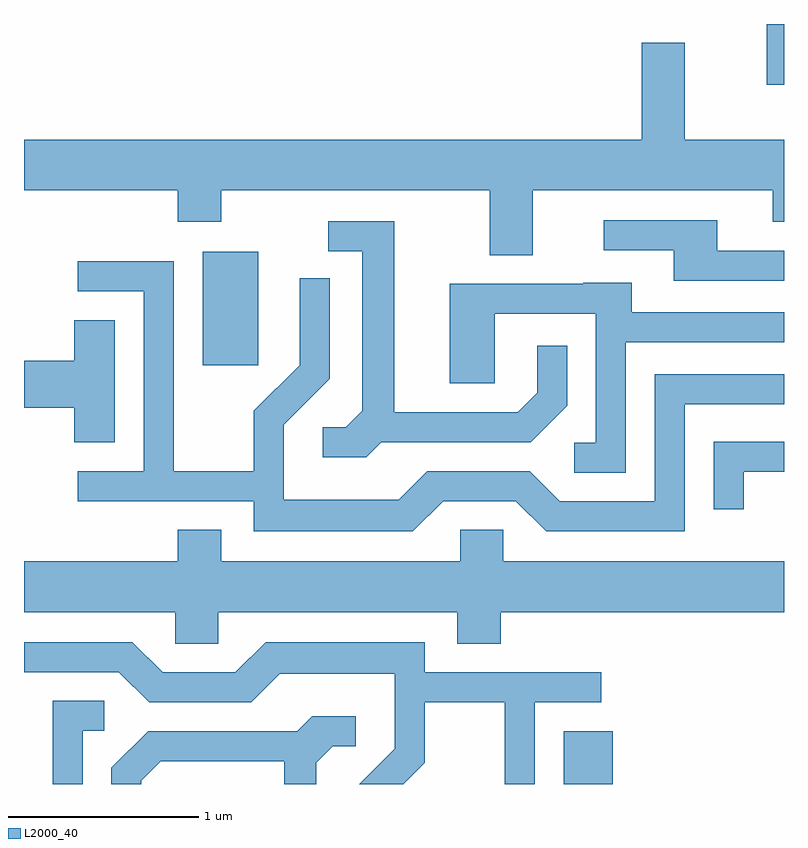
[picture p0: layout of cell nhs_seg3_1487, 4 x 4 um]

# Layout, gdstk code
import gdstk
lib = gdstk.Library(unit=1e-6, precision=1e-09)
def R(c, l, rs):  # rectangles x0, y0, x1, y1
    for r in rs: c.add(gdstk.rectangle(r[:2], r[2:], *l))
def P(c, l, *ps):  # polygons
    for p in ps: c.add(gdstk.Polygon(p, *l))
L2000_40 = (2000, 40)

nhs_seg3_1487 = lib.new_cell('nhs_seg3_1487')
R(nhs_seg3_1487, L2000_40, [(230.451,1233.892,230.709,1234.169), (228.551,1236.096,228.844,1236.694), (231.521,1237.571,231.611,1237.892)])
P(nhs_seg3_1487, L2000_40, [(230.289,1237.016),(231.551,1237.016),(231.551,1236.851),(231.611,1236.851),(231.611,1237.284),(231.089,1237.284),(231.089,1237.794),(230.861,1237.794),(230.861,1237.284),(227.611,1237.284),(227.611,1237.016),(228.421,1237.016),(228.421,1236.851),(228.649,1236.851),(228.649,1237.016),(230.061,1237.016),(230.061,1236.676),(230.289,1236.676)],
  [(231.611,1236.699),(231.259,1236.699),(231.259,1236.859),(230.663,1236.859),(230.663,1236.701),(231.031,1236.701),(231.031,1236.541),(231.611,1236.541)],
  [(229.492,1235.691),(230.277,1235.691),(230.469,1235.884),(230.469,1236.198),(230.311,1236.198),(230.311,1235.952),(230.209,1235.849),(229.559,1235.849),(229.559,1236.854),(229.213,1236.854),(229.213,1236.696),(229.391,1236.696),(229.391,1235.857),(229.304,1235.769),(229.183,1235.769),(229.183,1235.611),(229.412,1235.611)],
  [(229.817,1235.381),(230.199,1235.381),(230.359,1235.221),(231.089,1235.221),(231.089,1235.891),(231.611,1235.891),(231.611,1236.049),(230.931,1236.049),(230.931,1235.379),(230.432,1235.379),(230.272,1235.539),(229.734,1235.539),(229.584,1235.389),(228.979,1235.389),(228.979,1235.784),(229.219,1236.024),(229.219,1236.553),(229.061,1236.553),(229.061,1236.097),(228.821,1235.857),(228.821,1235.539),(228.399,1235.539),(228.399,1236.644),(227.893,1236.644),(227.893,1236.486),(228.241,1236.486),(228.241,1235.539),(227.893,1235.539),(227.893,1235.381),(228.821,1235.381),(228.821,1235.221),(229.657,1235.221)],
  [(230.779,1236.216),(231.611,1236.216),(231.611,1236.374),(230.809,1236.374),(230.809,1236.529),(230.555,1236.529),(230.555,1236.524),(229.851,1236.524),(229.851,1236.001),(230.089,1236.001),(230.089,1236.366),(230.621,1236.366),(230.621,1235.689),(230.508,1235.689),(230.508,1235.531),(230.779,1235.531)],
  [(228.089,1236.334),(227.876,1236.334),(227.876,1236.119),(227.611,1236.119),(227.611,1235.871),(227.876,1235.871),(227.876,1235.691),(228.089,1235.691)],
  [(231.399,1235.536),(231.611,1235.536),(231.611,1235.694),(231.241,1235.694),(231.241,1235.338),(231.399,1235.338)],
  [(228.634,1234.796),(229.891,1234.796),(229.891,1234.631),(230.119,1234.631),(230.119,1234.796),(231.611,1234.796),(231.611,1235.064),(230.134,1235.064),(230.134,1235.229),(229.906,1235.229),(229.906,1235.064),(228.649,1235.064),(228.649,1235.229),(228.421,1235.229),(228.421,1235.064),(227.611,1235.064),(227.611,1234.796),(228.406,1234.796),(228.406,1234.631),(228.634,1234.631)],
  [(229.719,1234.004),(229.719,1234.321),(230.141,1234.321),(230.141,1233.892),(230.299,1233.892),(230.299,1234.321),(230.648,1234.321),(230.648,1234.479),(229.719,1234.479),(229.719,1234.639),(228.884,1234.639),(228.724,1234.479),(228.342,1234.479),(228.182,1234.639),(227.611,1234.639),(227.611,1234.481),(228.109,1234.481),(228.269,1234.321),(228.807,1234.321),(228.957,1234.471),(229.561,1234.471),(229.561,1234.077),(229.376,1233.892),(229.607,1233.892)],
  [(227.919,1234.171),(228.033,1234.171),(228.033,1234.329),(227.761,1234.329),(227.761,1233.892),(227.919,1233.892)],
  [(228.229,1233.909),(228.332,1234.011),(228.981,1234.011),(228.981,1233.892),(229.149,1233.892),(229.149,1234.004),(229.237,1234.091),(229.358,1234.091),(229.358,1234.249),(229.129,1234.249),(229.049,1234.169),(228.264,1234.169),(228.071,1233.977),(228.071,1233.892),(228.229,1233.892)])

lib.write_gds('nhs_seg3_1487.gds')
